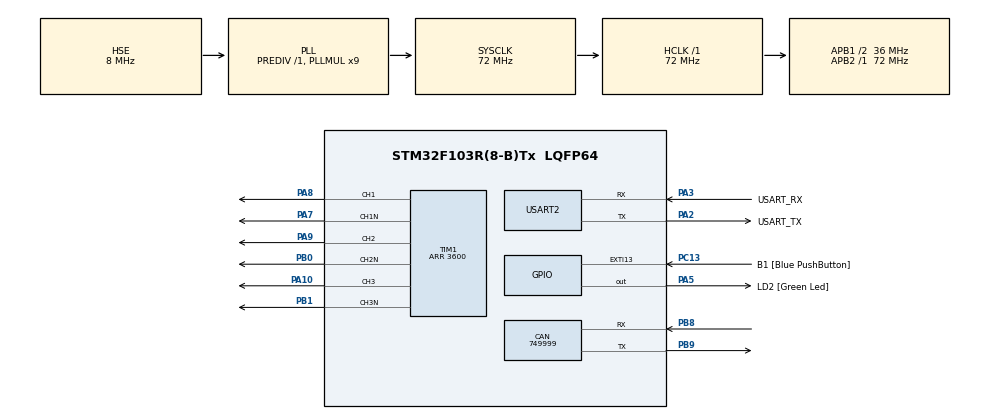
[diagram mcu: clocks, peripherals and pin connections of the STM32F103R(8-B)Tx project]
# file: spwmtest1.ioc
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CAN.CalculateBaudRate=749999
CAN.CalculateTimeBit=1333
CAN.CalculateTimeQuantum=444.44444444444446
Mcu.Family=STM32F1
Mcu.Name=STM32F103R(8-B)Tx
Mcu.Package=LQFP64
NVIC.EXTI15_10_IRQn=true\:0\:0\:false\:false\:true\:true\:true\:true
NVIC.PriorityGroup=NVIC_PRIORITYGROUP_4
NVIC.TIM1_UP_IRQn=true\:0\:0\:false\:false\:true\:true\:true\:true
PA10.Signal=S_TIM1_CH3
PA13.GPIO_Label=TMS
PA13.Mode=Serial_Wire
PA13.Signal=SYS_JTMS-SWDIO
PA14.GPIO_Label=TCK
PA14.Mode=Serial_Wire
PA14.Signal=SYS_JTCK-SWCLK
PA2.GPIO_Label=USART_TX
PA2.GPIO_Mode=GPIO_MODE_AF_PP
PA2.GPIO_PuPd=GPIO_NOPULL
PA2.GPIO_Speed=GPIO_SPEED_FREQ_LOW
PA2.Mode=Asynchronous
PA2.Signal=USART2_TX
PA3.GPIO_Label=USART_RX
PA3.GPIO_Mode=GPIO_MODE_AF_PP
PA3.GPIO_PuPd=GPIO_NOPULL
PA3.GPIO_Speed=GPIO_SPEED_FREQ_LOW
PA3.Mode=Asynchronous
PA3.Signal=USART2_RX
PA5.GPIO_Label=LD2 [Green Led]
PA5.GPIO_ModeDefaultOutputPP=GPIO_MODE_OUTPUT_PP
PA5.GPIO_PuPd=GPIO_NOPULL
PA5.GPIO_Speed=GPIO_SPEED_FREQ_LOW
PA5.Signal=GPIO_Output
PA7.Mode=PWM Generation1 CH1 CH1N
PA7.Signal=TIM1_CH1N
PA8.Signal=S_TIM1_CH1
PA9.Signal=S_TIM1_CH2
PB0.Mode=PWM Generation2 CH2 CH2N
PB0.Signal=TIM1_CH2N
PB1.Mode=PWM Generation3 CH3 CH3N
PB1.Signal=TIM1_CH3N
PB3.GPIO_Label=SWO
PB3.Signal=SYS_JTDO-TRACESWO
PB8.Mode=CAN_Activate
PB8.Signal=CAN_RX
PB9.Mode=CAN_Activate
PB9.Signal=CAN_TX
PC13-TAMPER-RTC.GPIO_Label=B1 [Blue PushButton]
PC13-TAMPER-RTC.GPIO_PuPd=GPIO_NOPULL
PC13-TAMPER-RTC.Signal=GPXTI13
PC14-OSC32_IN.Mode=LSE-External-Oscillator
PC14-OSC32_IN.Signal=RCC_OSC32_IN
PC15-OSC32_OUT.Mode=LSE-External-Oscillator
PC15-OSC32_OUT.Signal=RCC_OSC32_OUT
PD0-OSC_IN.Mode=HSE-External-Clock-Source
PD0-OSC_IN.Signal=RCC_OSC_IN
PD1-OSC_OUT.Mode=HSE-External-Clock-Source
PD1-OSC_OUT.Signal=RCC_OSC_OUT
ProjectManager.HeapSize=0x200
ProjectManager.StackSize=0x400
ProjectManager.TargetToolchain=STM32CubeIDE
RCC.AHBFreq_Value=72000000
RCC.APB1CLKDivider=RCC_HCLK_DIV2
RCC.APB1Freq_Value=36000000
RCC.APB1TimFreq_Value=72000000
RCC.APB2Freq_Value=72000000
RCC.APB2TimFreq_Value=72000000
RCC.EnbaleCSS=true
RCC.HCLKFreq_Value=72000000
RCC.PLLMUL=RCC_PLL_MUL9
RCC.PLLSourceVirtual=RCC_PLLSOURCE_HSE
RCC.RTCClockSelection=RCC_RTCCLKSOURCE_LSE
RCC.SYSCLKFreq_VALUE=72000000
RCC.SYSCLKSource=RCC_SYSCLKSOURCE_PLLCLK
RCC.USBFreq_Value=72000000
SH.S_TIM1_CH1.0=TIM1_CH1,PWM Generation1 CH1 CH1N
SH.S_TIM1_CH2.0=TIM1_CH2,PWM Generation2 CH2 CH2N
SH.S_TIM1_CH3.0=TIM1_CH3,PWM Generation3 CH3 CH3N
TIM1.AutoReloadPreload=TIM_AUTORELOAD_PRELOAD_ENABLE
TIM1.AutomaticOutput=TIM_AUTOMATICOUTPUT_ENABLE
TIM1.BreakState=TIM_BREAK_DISABLE
TIM1.Channel-PWM\ Generation1\ CH1\ CH1N=TIM_CHANNEL_1
TIM1.Channel-PWM\ Generation2\ CH2\ CH2N=TIM_CHANNEL_2
TIM1.Channel-PWM\ Generation3\ CH3\ CH3N=TIM_CHANNEL_3
TIM1.CounterMode=TIM_COUNTERMODE_CENTERALIGNED1
TIM1.DeadTime=172
TIM1.ClockDivision=TIM_CLOCKDIVISION_DIV1
TIM1.Period=3600
USART2.VirtualMode=VM_ASYNC
VP_TIM1_VS_ClockSourceINT.Mode=Internal
board=NUCLEO-F103RB

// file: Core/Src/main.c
/* USER CODE BEGIN Header */
/**
  ******************************************************************************
  * @file           : main.c
  * @brief          : Main program body
  ******************************************************************************
  * @attention
  *
  * Copyright (c) 2026 STMicroelectronics.
  * All rights reserved.
  *
  * This software is licensed under terms that can be found in the LICENSE file
  * in the root directory of this software component.
  * If no LICENSE file comes with this software, it is provided AS-IS.
  *
  ******************************************************************************
  */
/* USER CODE END Header */
#include "main.h"

/* USER CODE BEGIN Includes */
#include <math.h>
/* USER CODE END Includes */

/* USER CODE BEGIN PD */
/* ==========================================================================
 * USER-EDITABLE SPWM PARAMETERS (ONLY EDIT THESE TWO)
 * ========================================================================== */
#define MODULATION_INDEX  1.0f    /* Modulation index M: 0.0f to 1.0f (Controls voltage amplitude) */
#define MOTOR_FREQUENCY   10.0f   /* Fundamental output frequency in Hz (Controls motor speed)     */

/* ==============================if i have the delta connecting motor how much changes is there============================================
 * FIXED INTERNAL SPWM PARAMETERS (DO NOT CHANGE)
 * ========================================================================== */
#define SPWM_TABLE_SIZE   256U    /* Sine lookup table length (power of 2)                          */
#define SPWM_CARRIER_FREQ 10000U  /* TIM1 PWM carrier frequency in Hz (Center-aligned 10 kHz)       */
#define SPWM_ARR          3600U   /* TIM1 Auto-Reload Register value                                */

/* Phase displacement constants for 120 and 240 degrees (2^32 scale) */
#define PHASE_120_DEG     0x55555555UL  /* (2^32) / 3   = 120 degrees */
#define PHASE_240_DEG     0xAAAAAAABUL  /* 2*(2^32) / 3 = 240 degrees */
/* USER CODE END PD */

CAN_HandleTypeDef hcan;

TIM_HandleTypeDef htim1;

UART_HandleTypeDef huart2;

/* USER CODE BEGIN PV */
/* Sine lookup table scaled by MODULATION_INDEX */
static uint16_t sine_table[SPWM_TABLE_SIZE];

/* 32-bit Phase accumulator (overflows naturally at 2^32) */
static volatile uint32_t phase_accumulator = 0U;

/* Phase step calculated automatically from MOTOR_FREQUENCY and carrier interrupt rate */
static volatile uint32_t phase_step = 0U;
/* USER CODE END PV */

void SystemClock_Config(void);
static void MX_GPIO_Init(void);
static void MX_USART2_UART_Init(void);
static void MX_CAN_Init(void);
static void MX_TIM1_Init(void);

int main(void)
{

  /* MCU Configuration--------------------------------------------------------*/

  /* Reset of all peripherals, Initializes the Flash interface and the Systick. */

	HAL_Init();

  /* Configure the system clock */
  SystemClock_Config();

  /* Initialize all configured peripherals */
  MX_GPIO_Init();
  MX_USART2_UART_Init();
  MX_CAN_Init();
  MX_TIM1_Init();
    /* USER CODE BEGIN 2 */
  /* 1. Precompute sine lookup table using MODULATION_INDEX:
   *    CCR = (ARR / 2) * (1.0 + M * sin(theta))
   *    For M = 1.0, CCR varies between 0 and ARR (3600).
   */
  for (uint32_t i = 0; i < SPWM_TABLE_SIZE; i++)
  {
    float angle = 2.0f * (float)M_PI * (float)i / (float)SPWM_TABLE_SIZE;
    float val = ((float)SPWM_ARR / 2.0f) * (1.0f + (MODULATION_INDEX * sinf(angle)));
    if (val < 0.0f) val = 0.0f;
    if (val > (float)SPWM_ARR) val = (float)SPWM_ARR;
    sine_table[i] = (uint16_t)(val + 0.5f);
  }

  /* 2. Automatically calculate phase increment from MOTOR_FREQUENCY:
   *    Phase step = (MOTOR_FREQUENCY / SPWM_CARRIER_FREQ) * 2^32
   */
  phase_step = (uint32_t)((((double)MOTOR_FREQUENCY) / (double)SPWM_CARRIER_FREQ) * 4294967296.0);

  /* 3. Start TIM1 PWM outputs and complementary outputs */
  HAL_TIM_PWM_Start(&htim1, TIM_CHANNEL_1);
  HAL_TIMEx_PWMN_Start(&htim1, TIM_CHANNEL_1);

  HAL_TIM_PWM_Start(&htim1, TIM_CHANNEL_2);
  HAL_TIMEx_PWMN_Start(&htim1, TIM_CHANNEL_2);

  HAL_TIM_PWM_Start(&htim1, TIM_CHANNEL_3);
  HAL_TIMEx_PWMN_Start(&htim1, TIM_CHANNEL_3);

  /* 4. Start TIM1 Base Update Interrupt to service SPWM calculations */
  HAL_TIM_Base_Start_IT(&htim1);
  /* USER CODE END 2 */

  /* Infinite loop */
  while (1)
  {

  }
}

void SystemClock_Config(void)
{
  RCC_OscInitTypeDef RCC_OscInitStruct = {0};
  RCC_ClkInitTypeDef RCC_ClkInitStruct = {0};

  /** Initializes the RCC Oscillators according to the specified parameters
  * in the RCC_OscInitTypeDef structure.
  */
  RCC_OscInitStruct.OscillatorType = RCC_OSCILLATORTYPE_HSE;
  RCC_OscInitStruct.HSEState = RCC_HSE_BYPASS;
  RCC_OscInitStruct.HSEPredivValue = RCC_HSE_PREDIV_DIV1;
  RCC_OscInitStruct.HSIState = RCC_HSI_ON;
  RCC_OscInitStruct.PLL.PLLState = RCC_PLL_ON;
  RCC_OscInitStruct.PLL.PLLSource = RCC_PLLSOURCE_HSE;
  RCC_OscInitStruct.PLL.PLLMUL = RCC_PLL_MUL9;
  if (HAL_RCC_OscConfig(&RCC_OscInitStruct) != HAL_OK)
  {
    Error_Handler();
  }

  /** Initializes the CPU, AHB and APB buses clocks
  */
  RCC_ClkInitStruct.ClockType = RCC_CLOCKTYPE_HCLK|RCC_CLOCKTYPE_SYSCLK
                              |RCC_CLOCKTYPE_PCLK1|RCC_CLOCKTYPE_PCLK2;
  RCC_ClkInitStruct.SYSCLKSource = RCC_SYSCLKSOURCE_PLLCLK;
  RCC_ClkInitStruct.AHBCLKDivider = RCC_SYSCLK_DIV1;
  RCC_ClkInitStruct.APB1CLKDivider = RCC_HCLK_DIV2;
  RCC_ClkInitStruct.APB2CLKDivider = RCC_HCLK_DIV1;

  if (HAL_RCC_ClockConfig(&RCC_ClkInitStruct, FLASH_LATENCY_2) != HAL_OK)
  {
    Error_Handler();
  }

  /** Enables the Clock Security System
  */
  HAL_RCC_EnableCSS();
}

static void MX_CAN_Init(void)
{

  hcan.Instance = CAN1;
  hcan.Init.Prescaler = 16;
  hcan.Init.Mode = CAN_MODE_NORMAL;
  hcan.Init.SyncJumpWidth = CAN_SJW_1TQ;
  hcan.Init.TimeSeg1 = CAN_BS1_1TQ;
  hcan.Init.TimeSeg2 = CAN_BS2_1TQ;
  hcan.Init.TimeTriggeredMode = DISABLE;
  hcan.Init.AutoBusOff = DISABLE;
  hcan.Init.AutoWakeUp = DISABLE;
  hcan.Init.AutoRetransmission = DISABLE;
  hcan.Init.ReceiveFifoLocked = DISABLE;
  hcan.Init.TransmitFifoPriority = DISABLE;
  if (HAL_CAN_Init(&hcan) != HAL_OK)
  {
    Error_Handler();
  }

}

static void MX_TIM1_Init(void)
{

  TIM_ClockConfigTypeDef sClockSourceConfig = {0};
  TIM_MasterConfigTypeDef sMasterConfig = {0};
  TIM_OC_InitTypeDef sConfigOC = {0};
  TIM_BreakDeadTimeConfigTypeDef sBreakDeadTimeConfig = {0};

  htim1.Instance = TIM1;
  htim1.Init.Prescaler = 0;
  htim1.Init.CounterMode = TIM_COUNTERMODE_CENTERALIGNED1;
  htim1.Init.Period = 3600;
  htim1.Init.ClockDivision = TIM_CLOCKDIVISION_DIV1;
  htim1.Init.RepetitionCounter = 0;
  htim1.Init.AutoReloadPreload = TIM_AUTORELOAD_PRELOAD_ENABLE;
  if (HAL_TIM_Base_Init(&htim1) != HAL_OK)
  {
    Error_Handler();
  }
  sClockSourceConfig.ClockSource = TIM_CLOCKSOURCE_INTERNAL;
  if (HAL_TIM_ConfigClockSource(&htim1, &sClockSourceConfig) != HAL_OK)
  {
    Error_Handler();
  }
  if (HAL_TIM_PWM_Init(&htim1) != HAL_OK)
  {
    Error_Handler();
  }
  sMasterConfig.MasterOutputTrigger = TIM_TRGO_RESET;
  sMasterConfig.MasterSlaveMode = TIM_MASTERSLAVEMODE_DISABLE;
  if (HAL_TIMEx_MasterConfigSynchronization(&htim1, &sMasterConfig) != HAL_OK)
  {
    Error_Handler();
  }
  sConfigOC.OCMode = TIM_OCMODE_PWM1;
  sConfigOC.Pulse = 0;
  sConfigOC.OCPolarity = TIM_OCPOLARITY_HIGH;
  sConfigOC.OCNPolarity = TIM_OCNPOLARITY_HIGH;
  sConfigOC.OCFastMode = TIM_OCFAST_DISABLE;
  sConfigOC.OCIdleState = TIM_OCIDLESTATE_RESET;
  sConfigOC.OCNIdleState = TIM_OCNIDLESTATE_RESET;
  if (HAL_TIM_PWM_ConfigChannel(&htim1, &sConfigOC, TIM_CHANNEL_1) != HAL_OK)
  {
    Error_Handler();
  }
  if (HAL_TIM_PWM_ConfigChannel(&htim1, &sConfigOC, TIM_CHANNEL_2) != HAL_OK)
  {
    Error_Handler();
  }
  if (HAL_TIM_PWM_ConfigChannel(&htim1, &sConfigOC, TIM_CHANNEL_3) != HAL_OK)
  {
    Error_Handler();
  }
  sBreakDeadTimeConfig.OffStateRunMode = TIM_OSSR_DISABLE;
  sBreakDeadTimeConfig.OffStateIDLEMode = TIM_OSSI_DISABLE;
  sBreakDeadTimeConfig.LockLevel = TIM_LOCKLEVEL_OFF;
  sBreakDeadTimeConfig.DeadTime = 172;
  sBreakDeadTimeConfig.BreakState = TIM_BREAK_DISABLE;
  sBreakDeadTimeConfig.BreakPolarity = TIM_BREAKPOLARITY_HIGH;
  sBreakDeadTimeConfig.AutomaticOutput = TIM_AUTOMATICOUTPUT_ENABLE;
  if (HAL_TIMEx_ConfigBreakDeadTime(&htim1, &sBreakDeadTimeConfig) != HAL_OK)
  {
    Error_Handler();
  }
  HAL_TIM_MspPostInit(&htim1);

}

static void MX_USART2_UART_Init(void)
{

  huart2.Instance = USART2;
  huart2.Init.BaudRate = 115200;
  huart2.Init.WordLength = UART_WORDLENGTH_8B;
  huart2.Init.StopBits = UART_STOPBITS_1;
  huart2.Init.Parity = UART_PARITY_NONE;
  huart2.Init.Mode = UART_MODE_TX_RX;
  huart2.Init.HwFlowCtl = UART_HWCONTROL_NONE;
  huart2.Init.OverSampling = UART_OVERSAMPLING_16;
  if (HAL_UART_Init(&huart2) != HAL_OK)
  {
    Error_Handler();
  }

}

static void MX_GPIO_Init(void)
{
  GPIO_InitTypeDef GPIO_InitStruct = {0};

  /* GPIO Ports Clock Enable */
  __HAL_RCC_GPIOC_CLK_ENABLE();
  __HAL_RCC_GPIOD_CLK_ENABLE();
  __HAL_RCC_GPIOA_CLK_ENABLE();
  __HAL_RCC_GPIOB_CLK_ENABLE();

  /*Configure GPIO pin Output Level */
  HAL_GPIO_WritePin(LD2_GPIO_Port, LD2_Pin, GPIO_PIN_RESET);

  /*Configure GPIO pin : B1_Pin */
  GPIO_InitStruct.Pin = B1_Pin;
  GPIO_InitStruct.Mode = GPIO_MODE_IT_RISING;
  GPIO_InitStruct.Pull = GPIO_NOPULL;
  HAL_GPIO_Init(B1_GPIO_Port, &GPIO_InitStruct);

  /*Configure GPIO pin : LD2_Pin */
  GPIO_InitStruct.Pin = LD2_Pin;
  GPIO_InitStruct.Mode = GPIO_MODE_OUTPUT_PP;
  GPIO_InitStruct.Pull = GPIO_NOPULL;
  GPIO_InitStruct.Speed = GPIO_SPEED_FREQ_LOW;
  HAL_GPIO_Init(LD2_GPIO_Port, &GPIO_InitStruct);

  /* EXTI interrupt init*/
  HAL_NVIC_SetPriority(EXTI15_10_IRQn, 0, 0);
  HAL_NVIC_EnableIRQ(EXTI15_10_IRQn);

}

/* USER CODE BEGIN 4 */
/**
  * @brief TIM Update Interrupt Callback - Updates CCR1, CCR2, CCR3 every PWM cycle
  */
void HAL_TIM_PeriodElapsedCallback(TIM_HandleTypeDef *htim)
{
  if (htim->Instance == TIM1)
  {
    /* Advance 32-bit phase accumulator */
    phase_accumulator += phase_step;

    /* Compute 3-phase angles separated by 120 degrees */
    uint32_t pA = phase_accumulator;
    uint32_t pB = phase_accumulator + PHASE_120_DEG;
    uint32_t pC = phase_accumulator + PHASE_240_DEG;

    /* Extract table indices (top 8 bits for 256-entry table) */
    uint8_t idxA = (uint8_t)(pA >> 24);
    uint8_t idxB = (uint8_t)(pB >> 24);
    uint8_t idxC = (uint8_t)(pC >> 24);

    /* Update compare registers directly */
    __HAL_TIM_SET_COMPARE(&htim1, TIM_CHANNEL_1, sine_table[idxA]);
    __HAL_TIM_SET_COMPARE(&htim1, TIM_CHANNEL_2, sine_table[idxB]);
    __HAL_TIM_SET_COMPARE(&htim1, TIM_CHANNEL_3, sine_table[idxC]);
  }
}
/* USER CODE END 4 */

void Error_Handler(void)
{
  __disable_irq();
  while (1)
  {
  }
}
